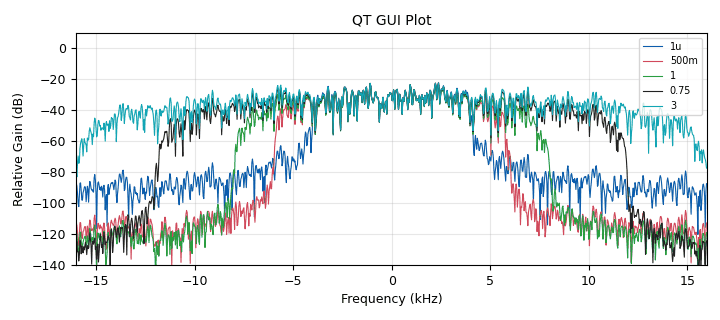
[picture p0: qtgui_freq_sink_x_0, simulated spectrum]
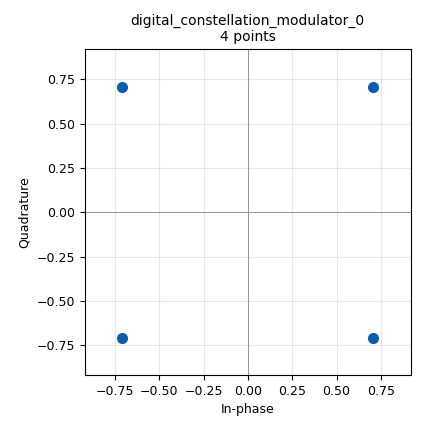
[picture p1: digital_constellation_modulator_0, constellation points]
options:
  parameters:
    author: Barry Duggan
    category: Custom
    generate_options: qt_gui
    id: qpsk_rrc_rolloff
    output_language: python
    title: qpsk_rrc_rolloff
  states: {}

blocks:
- name: excess_bw
  id: variable
  parameters:
    value: '0.35'
  states: {}
- name: qpsk
  id: variable_constellation_rect
  parameters:
    const_points: '[0.707+0.707j, -0.707+0.707j, -0.707-0.707j, 0.707-0.707j]'
    imag_sect: '2'
    real_sect: '2'
    rot_sym: '4'
    sym_map: '[0, 1, 2, 3]'
    w_imag_sect: '1'
    w_real_sect: '1'
  states: {}
- name: samp_rate
  id: variable
  parameters:
    value: '32000'
  states: {}
- name: sps
  id: variable
  parameters:
    value: '4'
  states: {}
- name: analog_random_source_x_0
  id: analog_random_source_x
  parameters:
    max: '256'
    min: '0'
    num_samps: '10000'
    repeat: 'True'
    type: byte
  states: {}
- name: blocks_throttle2_0
  id: blocks_throttle2
  parameters:
    samples_per_second: samp_rate
    type: complex
  states: {}
- name: digital_constellation_modulator_0
  id: digital_constellation_modulator
  parameters:
    constellation: qpsk
    differential: 'True'
    excess_bw: '0.000001'
    samples_per_symbol: sps
  states: {}
- name: digital_constellation_modulator_0_0
  id: digital_constellation_modulator
  parameters:
    constellation: qpsk
    differential: 'True'
    excess_bw: '0.5'
    samples_per_symbol: sps
  states: {}
- name: digital_constellation_modulator_0_0_0
  id: digital_constellation_modulator
  parameters:
    constellation: qpsk
    differential: 'True'
    excess_bw: '2'
    samples_per_symbol: sps
  states: {}
- name: digital_constellation_modulator_0_0_0_0
  id: digital_constellation_modulator
  parameters:
    constellation: qpsk
    differential: 'True'
    excess_bw: '3.0'
    samples_per_symbol: sps
  states: {}
- name: digital_constellation_modulator_0_1
  id: digital_constellation_modulator
  parameters:
    constellation: qpsk
    differential: 'True'
    excess_bw: '1'
    samples_per_symbol: sps
  states: {}
- name: qtgui_freq_sink_x_0
  id: qtgui_freq_sink_x
  parameters:
    alpha3: '2'
    bw: samp_rate
    color1: '"black"'
    color2: '"green"'
    color3: '"red"'
    color4: '"dark blue"'
    ctrlpanel: 'True'
    fc: '0'
    fftsize: '1024'
    gui_hint: 1,0,1,2
    label1: 1u
    label2: 500m
    label3: '1'
    label4: '0.75'
    label5: '3'
    name: QT GUI Plot
    nconnections: '5'
    type: complex
    width1: '3'
    width2: '3'
    width3: '3'
    width4: '3'
    width5: '3'
  states: {}

connections:
- [analog_random_source_x_0, '0', digital_constellation_modulator_0, '0']
- [analog_random_source_x_0, '0', digital_constellation_modulator_0_0, '0']
- [analog_random_source_x_0, '0', digital_constellation_modulator_0_0_0, '0']
- [analog_random_source_x_0, '0', digital_constellation_modulator_0_0_0_0, '0']
- [analog_random_source_x_0, '0', digital_constellation_modulator_0_1, '0']
- [blocks_throttle2_0, '0', qtgui_freq_sink_x_0, '0']
- [digital_constellation_modulator_0, '0', blocks_throttle2_0, '0']
- [digital_constellation_modulator_0_0, '0', qtgui_freq_sink_x_0, '1']
- [digital_constellation_modulator_0_0_0, '0', qtgui_freq_sink_x_0, '3']
- [digital_constellation_modulator_0_0_0_0, '0', qtgui_freq_sink_x_0, '4']
- [digital_constellation_modulator_0_1, '0', qtgui_freq_sink_x_0, '2']

metadata:
  file_format: 1
  grc_version: 3.10.9.2
